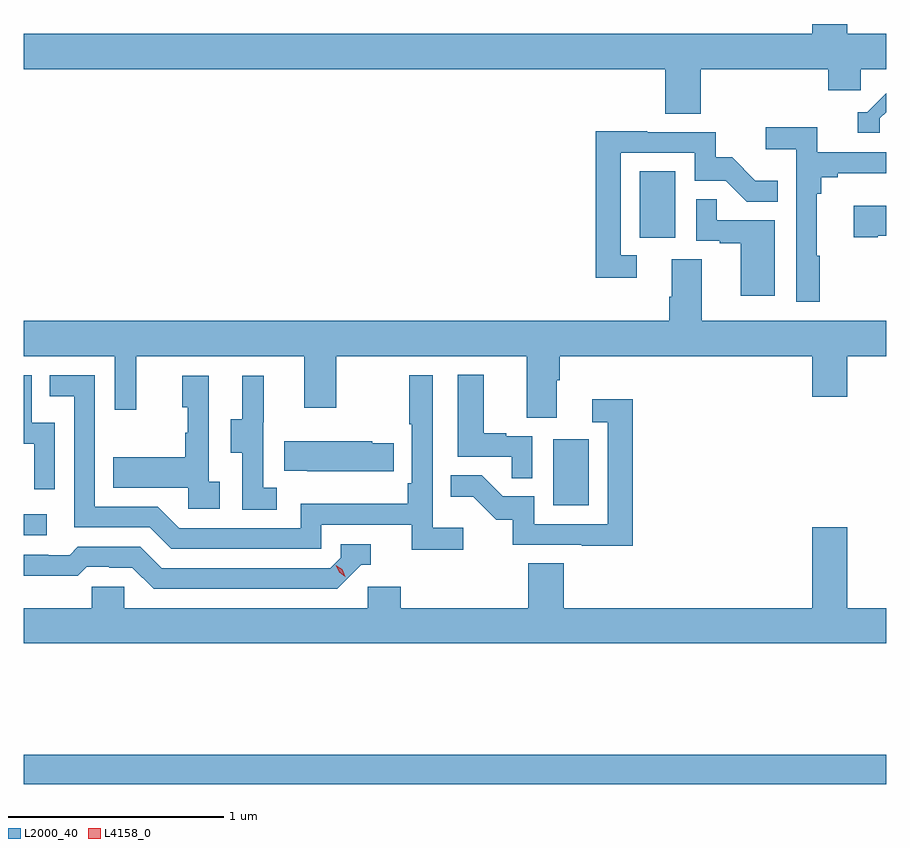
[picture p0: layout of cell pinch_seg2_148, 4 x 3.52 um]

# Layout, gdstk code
import gdstk
lib = gdstk.Library(unit=1e-6, precision=1e-09)
def R(c, l, rs):  # rectangles x0, y0, x1, y1
    for r in rs: c.add(gdstk.rectangle(r[:2], r[2:], *l))
def P(c, l, *ps):  # polygons
    for p in ps: c.add(gdstk.Polygon(p, *l))
L2000_40 = (2000, 40)
L4158_0 = (4158, 0)

pinch_seg2_148 = lib.new_cell('pinch_seg2_148')
R(pinch_seg2_148, L2000_40, [(1138.374,641.656,1142.374,641.792), (1138.374,642.81,1138.48,642.906), (1140.83,642.948,1140.994,643.255), (1141.232,644.19,1141.396,644.497)])
P(pinch_seg2_148, L2000_40, [(1141.514,644.972),(1142.105,644.972),(1142.105,644.874),(1142.256,644.874),(1142.256,644.972),(1142.374,644.972),(1142.374,645.136),(1142.194,645.136),(1142.194,645.181),(1142.03,645.181),(1142.03,645.136),(1138.374,645.136),(1138.374,644.972),(1141.349,644.972),(1141.349,644.764),(1141.514,644.764)],
  [(1142.345,644.743),(1142.374,644.772),(1142.374,644.86),(1142.286,644.772),(1142.243,644.772),(1142.243,644.676),(1142.345,644.676)],
  [(1142.065,644.105),(1142.053,644.105),(1142.053,644.393),(1142.072,644.393),(1142.072,644.47),(1142.149,644.47),(1142.149,644.489),(1142.374,644.489),(1142.374,644.586),(1142.054,644.586),(1142.054,644.702),(1141.815,644.702),(1141.815,644.6),(1141.956,644.6),(1141.956,643.893),(1142.065,643.893)],
  [(1141.216,644.109),(1141.143,644.109),(1141.143,644.583),(1141.485,644.583),(1141.485,644.454),(1141.629,644.454),(1141.727,644.356),(1141.871,644.356),(1141.871,644.455),(1141.767,644.455),(1141.66,644.562),(1141.584,644.562),(1141.584,644.679),(1141.265,644.679),(1141.265,644.684),(1141.027,644.684),(1141.027,644.004),(1141.216,644.004)],
  [(1141.858,644.271),(1141.589,644.271),(1141.589,644.369),(1141.494,644.369),(1141.494,644.175),(1141.601,644.175),(1141.601,644.163),(1141.7,644.163),(1141.7,643.92),(1141.858,643.92)],
  [(1142.335,644.198),(1142.374,644.198),(1142.374,644.338),(1142.223,644.338),(1142.223,644.191),(1142.335,644.191)],
  [(1140.847,643.528),(1140.86,643.528),(1140.86,643.64),(1142.03,643.64),(1142.03,643.452),(1142.194,643.452),(1142.194,643.64),(1142.374,643.64),(1142.374,643.804),(1141.519,643.804),(1141.519,644.09),(1141.379,644.09),(1141.379,643.916),(1141.367,643.916),(1141.367,643.804),(1138.374,643.804),(1138.374,643.64),(1138.797,643.64),(1138.797,643.392),(1138.895,643.392),(1138.895,643.64),(1139.675,643.64),(1139.675,643.401),(1139.823,643.401),(1139.823,643.64),(1140.707,643.64),(1140.707,643.354),(1140.847,643.354)],
  [(1140.732,643.269),(1140.611,643.269),(1140.611,643.282),(1140.508,643.282),(1140.508,643.555),(1140.386,643.555),(1140.386,643.173),(1140.637,643.173),(1140.637,643.075),(1140.732,643.075)],
  [(1140.412,642.844),(1140.27,642.844),(1140.27,643.552),(1140.162,643.552),(1140.162,643.324),(1140.174,643.324),(1140.174,643.051),(1140.154,643.051),(1140.154,642.955),(1139.658,642.955),(1139.658,642.843),(1139.094,642.843),(1138.995,642.942),(1138.704,642.942),(1138.704,643.551),(1138.495,643.551),(1138.495,643.455),(1138.608,643.455),(1138.608,642.846),(1138.958,642.846),(1139.057,642.747),(1139.754,642.747),(1139.754,642.858),(1140.173,642.858),(1140.173,642.742),(1140.412,642.742)],
  [(1138.518,643.332),(1138.41,643.332),(1138.41,643.551),(1138.374,643.551),(1138.374,643.235),(1138.422,643.235),(1138.422,643.023),(1138.518,643.023)],
  [(1139.548,643.031),(1139.484,643.031),(1139.484,643.335),(1139.486,643.335),(1139.486,643.549),(1139.387,643.549),(1139.387,643.347),(1139.333,643.347),(1139.333,643.192),(1139.388,643.192),(1139.388,642.928),(1139.548,642.928)],
  [(1139.284,643.058),(1139.232,643.058),(1139.232,643.549),(1139.108,643.549),(1139.108,643.404),(1139.134,643.404),(1139.134,643.286),(1139.124,643.286),(1139.124,643.171),(1138.789,643.171),(1138.789,643.031),(1139.136,643.031),(1139.136,642.933),(1139.284,642.933)],
  [(1141.199,643.441),(1141.011,643.441),(1141.011,643.335),(1141.083,643.335),(1141.083,642.861),(1140.741,642.861),(1140.741,642.99),(1140.596,642.99),(1140.498,643.088),(1140.355,643.088),(1140.355,642.989),(1140.459,642.989),(1140.566,642.882),(1140.643,642.882),(1140.643,642.765),(1140.961,642.765),(1140.961,642.76),(1141.199,642.76)],
  [(1140.089,643.236),(1139.991,643.236),(1139.991,643.246),(1139.581,643.246),(1139.581,643.109),(1139.689,643.109),(1139.689,643.106),(1140.089,643.106)],
  [(1142.374,642.472),(1142.194,642.472),(1142.194,642.847),(1142.03,642.847),(1142.03,642.472),(1140.878,642.472),(1140.878,642.68),(1140.713,642.68),(1140.713,642.472),(1140.122,642.472),(1140.122,642.57),(1139.97,642.57),(1139.97,642.472),(1138.839,642.472),(1138.839,642.57),(1138.689,642.57),(1138.689,642.472),(1138.374,642.472),(1138.374,642.308),(1142.374,642.308)],
  [(1139.94,642.672),(1139.983,642.672),(1139.983,642.768),(1139.844,642.768),(1139.844,642.705),(1139.796,642.657),(1139.013,642.657),(1138.914,642.756),(1138.625,642.756),(1138.586,642.717),(1138.487,642.717),(1138.487,642.72),(1138.374,642.72),(1138.374,642.623),(1138.392,642.623),(1138.392,642.621),(1138.625,642.621),(1138.667,642.663),(1138.77,642.663),(1138.77,642.66),(1138.877,642.66),(1138.976,642.561),(1139.829,642.561)])
P(pinch_seg2_148, L4158_0, [(1139.866,642.618),(1139.836,642.638),(1139.82,642.67),(1139.82,642.671),(1139.82,642.671),(1139.85,642.651),(1139.866,642.618),(1139.866,642.618)])

lib.write_gds('pinch_seg2_148.gds')
